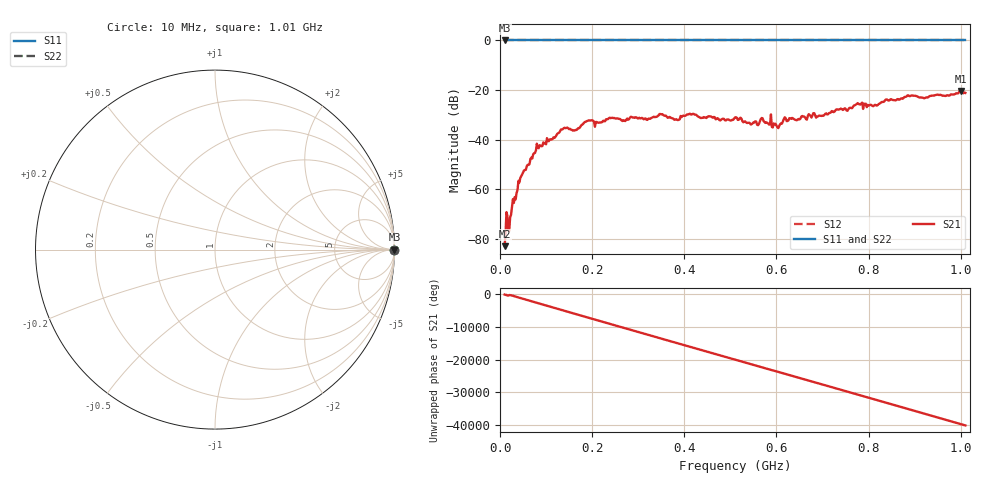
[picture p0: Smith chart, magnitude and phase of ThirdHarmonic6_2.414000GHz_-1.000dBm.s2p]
! 8/17/2025 4:04:20 AM
! C:\ANRITSUVNA\TEMP\TEMP.S2P
! CHANNEL.1
! TR.MEASUREMENT
! RAW.DATA
! RF.CORRECTION.OFF
! AVERAGING.OFF
! IF.BANDWIDTH: 5KHZ
! SWEEPTYPE:  FREQ.SWEEP(Linear)
! Reference Plane Port Info
! PORT:  PORT1  PORT2
! DISTANCE:  0  m  0  m
! TIME:  0  s  0  s
! PHASE.OFFSET:  0  deg.  0  deg.
! LOSS:  0  dB  0  dB
! REF.LOSS:  0  dB  0  dB
! REF.FREQ:  0  Hz  0  Hz
! Power Info
! POWER:  -20  dBm  -20  dBm
! EFF.POWER:  -20  dBm  -20  dBm
! SOURCE.ATTEN:  0  dB  0  dB
! TEST.ATTEN:  0  dB  0  dB
# GHZ S RI R 50.0
! FREQ.GHZ  S11RE  S11IM  S21RE  S21IM  S12RE  S12IM  S22RE  S22IM
!; PortSelection: Port_12
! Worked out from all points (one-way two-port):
!   501 points, 10 MHz to 1.01 GHz, reference 50 ohm
!   highest |S21| = -20.32 dB at 1 GHz (marker M1); lowest = -83.0 dB at 10 MHz (marker M2)
!   lowest |S11| = 0.0 dB at 10 MHz (marker M3)
!   |S11| at or under -10 dB: nowhere
!   |S22| runs from 0.0 to 0.0 dB; largest |S21 - S12| = 1.1
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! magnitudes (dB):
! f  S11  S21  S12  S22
! 10 MHz  0.0  -83.0  0.0  0.0
! 22 MHz  0.0  -71.3  0.0  0.0
! 28 MHz  0.0  -64.0  0.0  0.0
! 44 MHz  0.0  -55.5  0.0  0.0
! 78 MHz  0.0  -44.3  0.0  0.0
! 136 MHz  0.0  -35.8  0.0  0.0
! 162 MHz  0.0  -36.3  0.0  0.0
! 178 MHz  0.0  -34.0  0.0  0.0
! 196 MHz  0.0  -32.3  0.0  0.0
! 210 MHz  0.0  -32.9  0.0  0.0
! 344 MHz  0.0  -30.2  0.0  0.0
! 384 MHz  0.0  -32.0  0.0  0.0
! 416 MHz  0.0  -29.9  0.0  0.0
! 510 MHz  0.0  -31.1  0.0  0.0
! 544 MHz  0.0  -33.9  0.0  0.0
! 570 MHz  0.0  -31.4  0.0  0.0
! 604 MHz  0.0  -35.3  0.0  0.0
! 618 MHz  0.0  -31.0  0.0  0.0
! 678 MHz  0.0  -30.2  0.0  0.0
! 844 MHz  0.0  -24.3  0.0  0.0
! 1 GHz  0.0  -20.3  0.0  0.0
! 1.01 GHz  0.0  -21.1  0.0  0.0
